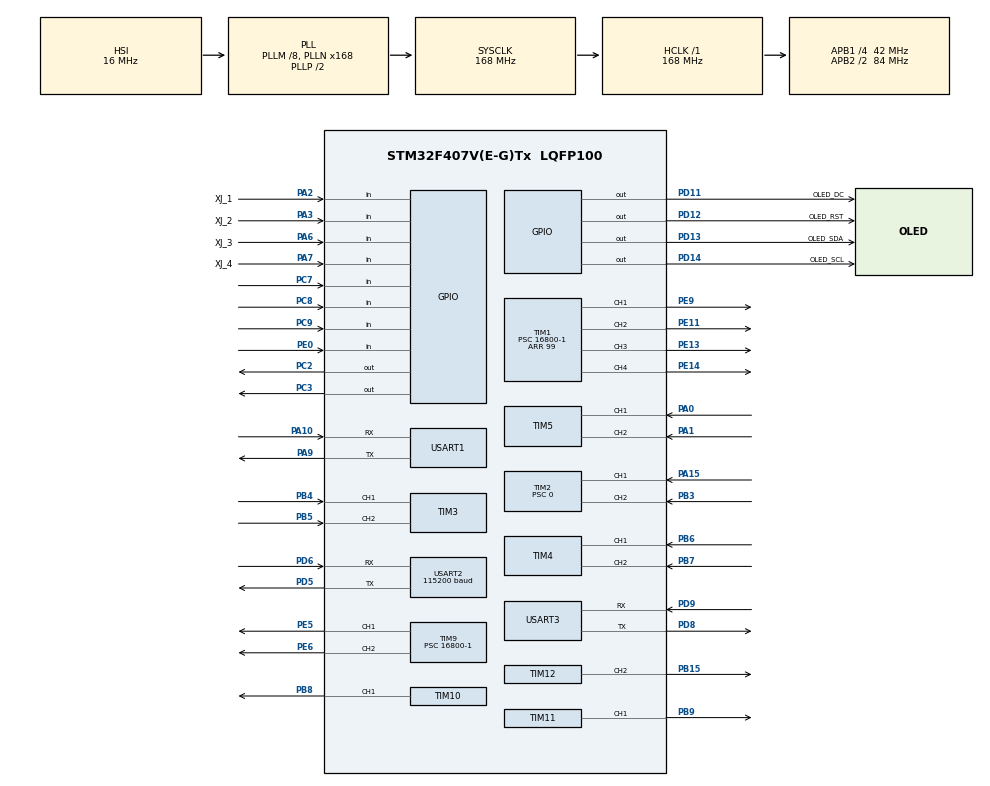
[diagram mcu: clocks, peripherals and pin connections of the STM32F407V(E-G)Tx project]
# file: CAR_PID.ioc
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Dma.Request0=USART3_RX
Dma.Request1=USART1_RX
Dma.Request2=USART2_RX
Dma.USART1_RX.1.Direction=DMA_PERIPH_TO_MEMORY
Dma.USART1_RX.1.FIFOMode=DMA_FIFOMODE_DISABLE
Dma.USART1_RX.1.Instance=DMA2_Stream2
Dma.USART1_RX.1.MemDataAlignment=DMA_MDATAALIGN_BYTE
Dma.USART1_RX.1.MemInc=DMA_MINC_ENABLE
Dma.USART1_RX.1.Mode=DMA_NORMAL
Dma.USART1_RX.1.PeriphDataAlignment=DMA_PDATAALIGN_BYTE
Dma.USART1_RX.1.PeriphInc=DMA_PINC_DISABLE
Dma.USART1_RX.1.Priority=DMA_PRIORITY_LOW
Dma.USART2_RX.2.Direction=DMA_PERIPH_TO_MEMORY
Dma.USART2_RX.2.FIFOMode=DMA_FIFOMODE_DISABLE
Dma.USART2_RX.2.Instance=DMA1_Stream5
Dma.USART2_RX.2.MemDataAlignment=DMA_MDATAALIGN_BYTE
Dma.USART2_RX.2.MemInc=DMA_MINC_ENABLE
Dma.USART2_RX.2.Mode=DMA_NORMAL
Dma.USART2_RX.2.PeriphDataAlignment=DMA_PDATAALIGN_BYTE
Dma.USART2_RX.2.PeriphInc=DMA_PINC_DISABLE
Dma.USART2_RX.2.Priority=DMA_PRIORITY_LOW
Dma.USART3_RX.0.Direction=DMA_PERIPH_TO_MEMORY
Dma.USART3_RX.0.FIFOMode=DMA_FIFOMODE_DISABLE
Dma.USART3_RX.0.Instance=DMA1_Stream1
Dma.USART3_RX.0.MemDataAlignment=DMA_MDATAALIGN_BYTE
Dma.USART3_RX.0.MemInc=DMA_MINC_ENABLE
Dma.USART3_RX.0.Mode=DMA_NORMAL
Dma.USART3_RX.0.PeriphDataAlignment=DMA_PDATAALIGN_BYTE
Dma.USART3_RX.0.PeriphInc=DMA_PINC_DISABLE
Dma.USART3_RX.0.Priority=DMA_PRIORITY_LOW
FREERTOS.INCLUDE_vTaskDelayUntil=1
FREERTOS.Tasks01=myTask01,0,128,StartDefaultTask,Default,NULL,Dynamic,NULL,NULL;myTask02,0,128,StartTask02,Default,NULL,Dynamic,NULL,NULL;myTask03,0,128,StartTask03,Default,NULL,Dynamic,NULL,NULL;myTask04,0,128,StartTask04,Default,NULL,Dynamic,NULL,NULL
Mcu.Family=STM32F4
Mcu.Name=STM32F407V(E-G)Tx
Mcu.Package=LQFP100
NVIC.DMA1_Stream1_IRQn=true\:5\:0\:false\:false\:true\:true\:false\:true\:true
NVIC.DMA1_Stream5_IRQn=true\:5\:0\:false\:false\:true\:true\:false\:true\:true
NVIC.DMA2_Stream2_IRQn=true\:5\:0\:false\:false\:true\:true\:false\:true\:true
NVIC.PriorityGroup=NVIC_PRIORITYGROUP_4
NVIC.TIM3_IRQn=true\:5\:0\:false\:false\:true\:true\:true\:true\:true
NVIC.TIM6_DAC_IRQn=true\:15\:0\:false\:false\:true\:false\:false\:true\:true
NVIC.TIM7_IRQn=true\:5\:0\:false\:false\:true\:true\:true\:true\:true
NVIC.TimeBase=TIM6_DAC_IRQn
NVIC.TimeBaseIP=TIM6
NVIC.USART1_IRQn=true\:5\:0\:false\:false\:true\:true\:true\:true\:true
NVIC.USART2_IRQn=true\:5\:0\:false\:false\:true\:true\:true\:true\:true
NVIC.USART3_IRQn=true\:5\:0\:false\:false\:true\:true\:true\:true\:true
PA0-WKUP.GPIO_Speed=GPIO_SPEED_FREQ_VERY_HIGH
PA0-WKUP.Signal=S_TIM5_CH1
PA1.GPIO_Speed=GPIO_SPEED_FREQ_VERY_HIGH
PA1.Signal=S_TIM5_CH2
PA10.Mode=Asynchronous
PA10.Signal=USART1_RX
PA13.Mode=Serial_Wire
PA13.Signal=SYS_JTMS-SWDIO
PA14.Mode=Serial_Wire
PA14.Signal=SYS_JTCK-SWCLK
PA15.GPIO_Speed=GPIO_SPEED_FREQ_VERY_HIGH
PA15.Signal=S_TIM2_CH1_ETR
PA2.GPIO_Label=XJ_1
PA2.GPIO_PuPd=GPIO_PULLUP
PA2.Signal=GPIO_Input
PA3.GPIO_Label=XJ_2
PA3.GPIO_PuPd=GPIO_PULLUP
PA3.Signal=GPIO_Input
PA6.GPIO_Label=XJ_3
PA6.GPIO_PuPd=GPIO_PULLUP
PA6.Signal=GPIO_Input
PA7.GPIO_Label=XJ_4
PA7.GPIO_PuPd=GPIO_PULLUP
PA7.Signal=GPIO_Input
PA9.Mode=Asynchronous
PA9.Signal=USART1_TX
PB15.GPIO_Speed=GPIO_SPEED_FREQ_VERY_HIGH
PB15.Signal=S_TIM12_CH2
PB3.GPIO_Speed=GPIO_SPEED_FREQ_VERY_HIGH
PB3.Signal=S_TIM2_CH2
PB4.GPIO_Speed=GPIO_SPEED_FREQ_VERY_HIGH
PB4.Signal=S_TIM3_CH1
PB5.GPIO_Speed=GPIO_SPEED_FREQ_VERY_HIGH
PB5.Signal=S_TIM3_CH2
PB6.GPIO_Speed=GPIO_SPEED_FREQ_VERY_HIGH
PB6.Signal=S_TIM4_CH1
PB7.GPIO_Speed=GPIO_SPEED_FREQ_VERY_HIGH
PB7.Signal=S_TIM4_CH2
PB8.GPIO_Speed=GPIO_SPEED_FREQ_VERY_HIGH
PB8.Signal=S_TIM10_CH1
PB9.GPIO_Speed=GPIO_SPEED_FREQ_VERY_HIGH
PB9.Signal=S_TIM11_CH1
PC2.GPIO_ModeDefaultOutputPP=GPIO_MODE_OUTPUT_OD
PC2.GPIO_PuPd=GPIO_PULLUP
PC2.GPIO_Speed=GPIO_SPEED_FREQ_VERY_HIGH
PC2.Signal=GPIO_Output
PC3.GPIO_ModeDefaultOutputPP=GPIO_MODE_OUTPUT_OD
PC3.GPIO_PuPd=GPIO_PULLUP
PC3.GPIO_Speed=GPIO_SPEED_FREQ_VERY_HIGH
PC3.Signal=GPIO_Output
PC7.GPIO_PuPd=GPIO_PULLUP
PC7.Signal=GPIO_Input
PC8.GPIO_PuPd=GPIO_PULLUP
PC8.Signal=GPIO_Input
PC9.GPIO_PuPd=GPIO_PULLUP
PC9.Signal=GPIO_Input
PD11.GPIO_Label=OLED_DC
PD11.Signal=GPIO_Output
PD12.GPIO_Label=OLED_RST
PD12.Signal=GPIO_Output
PD13.GPIO_Label=OLED_SDA
PD13.Signal=GPIO_Output
PD14.GPIO_Label=OLED_SCL
PD14.Signal=GPIO_Output
PD5.Mode=Asynchronous
PD5.Signal=USART2_TX
PD6.Mode=Asynchronous
PD6.Signal=USART2_RX
PD8.Mode=Asynchronous
PD8.Signal=USART3_TX
PD9.Mode=Asynchronous
PD9.Signal=USART3_RX
PE0.GPIO_PuPd=GPIO_NOPULL
PE0.Signal=GPIO_Input
PE11.GPIO_Speed=GPIO_SPEED_FREQ_VERY_HIGH
PE11.Signal=S_TIM1_CH2
PE13.GPIO_Speed=GPIO_SPEED_FREQ_VERY_HIGH
PE13.Signal=S_TIM1_CH3
PE14.GPIO_Speed=GPIO_SPEED_FREQ_VERY_HIGH
PE14.Signal=S_TIM1_CH4
PE5.GPIO_Speed=GPIO_SPEED_FREQ_VERY_HIGH
PE5.Signal=S_TIM9_CH1
PE6.GPIO_Speed=GPIO_SPEED_FREQ_VERY_HIGH
PE6.Signal=S_TIM9_CH2
PE9.GPIO_Speed=GPIO_SPEED_FREQ_VERY_HIGH
PE9.Signal=S_TIM1_CH1
PH0-OSC_IN.Mode=HSE-External-Oscillator
PH0-OSC_IN.Signal=RCC_OSC_IN
PH1-OSC_OUT.Mode=HSE-External-Oscillator
PH1-OSC_OUT.Signal=RCC_OSC_OUT
ProjectManager.HeapSize=0x200
ProjectManager.StackSize=0x400
ProjectManager.TargetToolchain=MDK-ARM V5.32
RCC.48MHZClocksFreq_Value=84000000
RCC.AHBFreq_Value=168000000
RCC.APB1CLKDivider=RCC_HCLK_DIV4
RCC.APB1Freq_Value=42000000
RCC.APB1TimFreq_Value=84000000
RCC.APB2CLKDivider=RCC_HCLK_DIV2
RCC.APB2Freq_Value=84000000
RCC.APB2TimFreq_Value=168000000
RCC.CortexFreq_Value=168000000
RCC.HCLKFreq_Value=168000000
RCC.HSE_VALUE=25000000
RCC.HSI_VALUE=16000000
RCC.LSE_VALUE=32768
RCC.PLLM=8
RCC.PLLN=168
RCC.SYSCLKFreq_VALUE=168000000
RCC.SYSCLKSource=RCC_SYSCLKSOURCE_PLLCLK
RCC.VCOOutputFreq_Value=336000000
SH.S_TIM10_CH1.0=TIM10_CH1,PWM Generation1 CH1
SH.S_TIM11_CH1.0=TIM11_CH1,PWM Generation1 CH1
SH.S_TIM12_CH2.0=TIM12_CH2,PWM Generation2 CH2
SH.S_TIM1_CH1.0=TIM1_CH1,PWM Generation1 CH1
SH.S_TIM1_CH2.0=TIM1_CH2,PWM Generation2 CH2
SH.S_TIM1_CH3.0=TIM1_CH3,PWM Generation3 CH3
SH.S_TIM1_CH4.0=TIM1_CH4,PWM Generation4 CH4
SH.S_TIM2_CH1_ETR.0=TIM2_CH1,Encoder_Interface
SH.S_TIM2_CH2.0=TIM2_CH2,Encoder_Interface
SH.S_TIM3_CH1.0=TIM3_CH1,Encoder_Interface
SH.S_TIM3_CH2.0=TIM3_CH2,Encoder_Interface
SH.S_TIM4_CH1.0=TIM4_CH1,Encoder_Interface
SH.S_TIM4_CH2.0=TIM4_CH2,Encoder_Interface
SH.S_TIM5_CH1.0=TIM5_CH1,Encoder_Interface
SH.S_TIM5_CH2.0=TIM5_CH2,Encoder_Interface
SH.S_TIM9_CH1.0=TIM9_CH1,PWM Generation1 CH1
SH.S_TIM9_CH2.0=TIM9_CH2,PWM Generation2 CH2
TIM1.Channel-PWM\ Generation1\ CH1=TIM_CHANNEL_1
TIM1.Channel-PWM\ Generation2\ CH2=TIM_CHANNEL_2
TIM1.Channel-PWM\ Generation3\ CH3=TIM_CHANNEL_3
TIM1.Channel-PWM\ Generation4\ CH4=TIM_CHANNEL_4
TIM1.Period=99
TIM1.Prescaler=16800-1
TIM10.Channel=TIM_CHANNEL_1
TIM10.Period=99
TIM10.Prescaler=16800-1
TIM11.Channel=TIM_CHANNEL_1
TIM11.Period=99
TIM11.Prescaler=16800-1
TIM12.Channel-PWM\ Generation2\ CH2=TIM_CHANNEL_2
TIM12.Period=20000-1
TIM12.Prescaler=84-1
TIM2.Period=4294967295
TIM2.Prescaler=0
TIM3.EncoderMode=TIM_ENCODERMODE_TI12
TIM7.AutoReloadPreload=TIM_AUTORELOAD_PRELOAD_ENABLE
TIM7.Period=999
TIM7.Prescaler=840-1
TIM9.Channel-PWM\ Generation1\ CH1=TIM_CHANNEL_1
TIM9.Channel-PWM\ Generation2\ CH2=TIM_CHANNEL_2
TIM9.Period=99
TIM9.Prescaler=16800-1
USART1.VirtualMode=VM_ASYNC
USART2.BaudRate=115200
USART2.VirtualMode=VM_ASYNC
USART3.VirtualMode=VM_ASYNC
VP_FREERTOS_VS_CMSIS_V1.Mode=CMSIS_V1
VP_SYS_VS_tim6.Mode=TIM6
VP_TIM10_VS_ClockSourceINT.Mode=Enable_Timer
VP_TIM11_VS_ClockSourceINT.Mode=Enable_Timer
VP_TIM12_VS_ClockSourceINT.Mode=Internal
VP_TIM1_VS_ClockSourceINT.Mode=Internal
VP_TIM7_VS_ClockSourceINT.Mode=Enable_Timer
VP_TIM9_VS_ClockSourceINT.Mode=Internal
board=custom

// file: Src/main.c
/* USER CODE BEGIN Header */
/**
 ******************************************************************************
 * @file           : main.c
 * @brief          : Main program body
 ******************************************************************************
 * @attention
 *
 * Copyright (c) 2024 STMicroelectronics.
 * All rights reserved.
 *
 * This software is licensed under terms that can be found in the LICENSE file
 * in the root directory of this software component.
 * If no LICENSE file comes with this software, it is provided AS-IS.
 *
 ******************************************************************************
 */
/* USER CODE END Header */
#include "main.h"
#include "cmsis_os.h"
#include "dma.h"
#include "tim.h"
#include "usart.h"
#include "gpio.h"
/* USER CODE BEGIN Includes */
#include "OLED.h"
#include "pid.h"
#include "motor.h"
#include "cJSON.h"
#include "IM948.h"
/* USER CODE END Includes */

void SystemClock_Config(void);
void MX_FREERTOS_Init(void);

/* USER CODE BEGIN 0 */
int32_t encoder_count_motor_a;
int32_t encoder_count_motor_b;
int32_t encoder_count_motor_c;
int32_t encoder_count_motor_d;

extern wheel_t LeftUp;
extern wheel_t LeftDown;
extern wheel_t RightUp;
extern wheel_t RightDown;

double ActDistance;                     // Current travel distance
extern uint8_t Need_To_Record_Distance; // Whether to record the distance

float p, i, d, a;                        // debug parameter
cJSON *cJsonData, *cJsonVlaue;           // debug
extern DMA_HandleTypeDef hdma_usart3_rx; // debug communication
uint8_t receivedata[50];

extern DMA_HandleTypeDef hdma_usart2_rx; // receive direction
extern F32 tmpZ;                         // direction
extern struct_Ram_Uart Uart;
uint8_t rx_byte;

void HAL_UARTEx_RxEventCallback(UART_HandleTypeDef *huart, uint16_t Size)
{
  if (huart == &huart2) // direction
  {
    if (FifoSize > Uart.UartFifo.Cnt)
    {
      Uart.UartFifo.RxBuf[Uart.UartFifo.In] = rx_byte;
      if (++Uart.UartFifo.In >= FifoSize)
      {
        Uart.UartFifo.In = 0;
      }
      ++Uart.UartFifo.Cnt;
    }
    HAL_UARTEx_ReceiveToIdle_DMA(&huart2, &rx_byte, 1);
    __HAL_DMA_DISABLE_IT(&hdma_usart2_rx, DMA_IT_HT);
  }
  if (huart == &huart3) // debug
  {
    cJsonData = cJSON_Parse((const char *)receivedata);
    if (cJSON_GetObjectItem(cJsonData, "p") != NULL)
    {
      cJsonVlaue = cJSON_GetObjectItem(cJsonData, "p");
      p = cJsonVlaue->valuedouble;
//      LeftDown.pid_struct.p = LeftUp.pid_struct.p = RightDown.pid_struct.p = RightUp.pid_struct.p = p;
      LeftDown.pid_struct.p=p;
//      LeftUp.pid_struct.p=p;
//        RightDown.pid_struct.p=p;
    }
    if (cJSON_GetObjectItem(cJsonData, "i") != NULL)
    {
      cJsonVlaue = cJSON_GetObjectItem(cJsonData, "i");
      i = cJsonVlaue->valuedouble;
//      LeftDown.pid_struct.i = LeftUp.pid_struct.i = RightDown.pid_struct.i = RightUp.pid_struct.i = i;
      LeftDown.pid_struct.i=i;
//      LeftUp.pid_struct.i=i;
//        RightUp.pid_struct.i=i;
//        RightDown.pid_struct.i=i;
    }
    if (cJSON_GetObjectItem(cJsonData, "d") != NULL)
    {
      cJsonVlaue = cJSON_GetObjectItem(cJsonData, "d");
      d = cJsonVlaue->valuedouble;
//      LeftDown.pid_struct.d = LeftUp.pid_struct.d = RightDown.pid_struct.d = RightUp.pid_struct.d = d;
      LeftDown.pid_struct.d=d;
//      LeftUp.pid_struct.d=d;
//        RightDown.pid_struct.d=d;
    }
    if (cJSON_GetObjectItem(cJsonData, "a") != NULL)
    {
      cJsonVlaue = cJSON_GetObjectItem(cJsonData, "a");
      a = cJsonVlaue->valuedouble;
//      LeftDown.pid_struct.tar = RightDown.pid_struct.tar = LeftUp.pid_struct.tar = RightUp.pid_struct.tar = a;
      LeftDown.pid_struct.tar=a;
//      LeftUp.pid_struct.tar=a;
//        RightDown.pid_struct.tar=a;
    }
    if (cJsonData != NULL)
    {
      cJSON_Delete(cJsonData);
    }
    HAL_UARTEx_ReceiveToIdle_DMA(&huart3, receivedata, 50);
    __HAL_DMA_DISABLE_IT(&hdma_usart3_rx, DMA_IT_HT);
  }
}
/* USER CODE END 0 */

int main(void)
{

  /* MCU Configuration--------------------------------------------------------*/

  /* Reset of all peripherals, Initializes the Flash interface and the Systick. */
  HAL_Init();

  /* Configure the system clock */
  SystemClock_Config();

  /* Initialize all configured peripherals */
  MX_GPIO_Init();
  MX_DMA_Init();
  MX_TIM1_Init();
  MX_TIM3_Init();
  MX_TIM4_Init();
  MX_TIM9_Init();
  MX_TIM12_Init();
  MX_USART2_UART_Init();
  MX_TIM2_Init();
  MX_TIM5_Init();
  MX_TIM10_Init();
  MX_TIM11_Init();
  MX_TIM7_Init();
  MX_USART3_UART_Init();
  MX_USART1_UART_Init();
  /* USER CODE BEGIN 2 */
  HAL_TIM_PWM_Start(&htim10, TIM_CHANNEL_1);            // motor_pwm
  HAL_TIM_PWM_Start(&htim11, TIM_CHANNEL_1);            //
  HAL_TIM_PWM_Start(&MOTOR_B_TIMER, MOTOR_B_CHANNEL_1); // tim9
  HAL_TIM_PWM_Start(&MOTOR_B_TIMER, MOTOR_B_CHANNEL_2); //
  HAL_TIM_PWM_Start(&MOTOR_C_TIMER, MOTOR_C_CHANNEL_1); // tim1
  HAL_TIM_PWM_Start(&MOTOR_C_TIMER, MOTOR_C_CHANNEL_2); //
  HAL_TIM_PWM_Start(&htim1, TIM_CHANNEL_3);             // tim1
  HAL_TIM_PWM_Start(&htim1, TIM_CHANNEL_4);

  HAL_TIM_PWM_Start(&SENSOR, TIM_CHANNEL_2); // Servo engine

  HAL_TIM_Encoder_Start(&htim2, TIM_CHANNEL_ALL); // speed
  HAL_TIM_Encoder_Start(&htim3, TIM_CHANNEL_ALL);
  HAL_TIM_Encoder_Start(&htim4, TIM_CHANNEL_ALL);
  HAL_TIM_Encoder_Start(&htim5, TIM_CHANNEL_ALL);

  OLED_Init(); // OLED
  OLED_Clear();
  OLED_Display_On();

  HAL_TIM_Base_Start_IT(&htim7); // TIM_PeriodElapsedCallback,get speed,set speed

  HAL_UARTEx_ReceiveToIdle_DMA(&huart3, receivedata, 50); // debug
  __HAL_DMA_DISABLE_IT(&hdma_usart3_rx, DMA_IT_HT);

  HAL_UARTEx_ReceiveToIdle_DMA(&huart2, &rx_byte, 200);
  __HAL_DMA_DISABLE_IT(&hdma_usart2_rx, DMA_IT_HT); // direction

  Wheels_Init(); // Wheels
  MIX_PID_Init();

  Cmd_03(); // direction
  Cmd_06(); // init yaw
  Cmd_12(5, 255, 0, 1, 3, 2, 2, 4, 9, 0x40);
  Cmd_19();

  /* USER CODE END 2 */

  /* Call init function for freertos objects (in cmsis_os2.c) */
  MX_FREERTOS_Init();

  /* Start scheduler */
  osKernelStart();

  /* We should never get here as control is now taken by the scheduler */

  /* Infinite loop */
  while (1)
  {

  }
}

void SystemClock_Config(void)
{
  RCC_OscInitTypeDef RCC_OscInitStruct = {0};
  RCC_ClkInitTypeDef RCC_ClkInitStruct = {0};

  /** Configure the main internal regulator output voltage
   */
  __HAL_RCC_PWR_CLK_ENABLE();
  __HAL_PWR_VOLTAGESCALING_CONFIG(PWR_REGULATOR_VOLTAGE_SCALE1);

  /** Initializes the RCC Oscillators according to the specified parameters
   * in the RCC_OscInitTypeDef structure.
   */
  RCC_OscInitStruct.OscillatorType = RCC_OSCILLATORTYPE_HSI;
  RCC_OscInitStruct.HSIState = RCC_HSI_ON;
  RCC_OscInitStruct.HSICalibrationValue = RCC_HSICALIBRATION_DEFAULT;
  RCC_OscInitStruct.PLL.PLLState = RCC_PLL_ON;
  RCC_OscInitStruct.PLL.PLLSource = RCC_PLLSOURCE_HSI;
  RCC_OscInitStruct.PLL.PLLM = 8;
  RCC_OscInitStruct.PLL.PLLN = 168;
  RCC_OscInitStruct.PLL.PLLP = RCC_PLLP_DIV2;
  RCC_OscInitStruct.PLL.PLLQ = 4;
  if (HAL_RCC_OscConfig(&RCC_OscInitStruct) != HAL_OK)
  {
    Error_Handler();
  }

  /** Initializes the CPU, AHB and APB buses clocks
   */
  RCC_ClkInitStruct.ClockType = RCC_CLOCKTYPE_HCLK | RCC_CLOCKTYPE_SYSCLK | RCC_CLOCKTYPE_PCLK1 | RCC_CLOCKTYPE_PCLK2;
  RCC_ClkInitStruct.SYSCLKSource = RCC_SYSCLKSOURCE_PLLCLK;
  RCC_ClkInitStruct.AHBCLKDivider = RCC_SYSCLK_DIV1;
  RCC_ClkInitStruct.APB1CLKDivider = RCC_HCLK_DIV4;
  RCC_ClkInitStruct.APB2CLKDivider = RCC_HCLK_DIV2;

  if (HAL_RCC_ClockConfig(&RCC_ClkInitStruct, FLASH_LATENCY_5) != HAL_OK)
  {
    Error_Handler();
  }
}

/* USER CODE BEGIN 4 */
void HAL_TIM_PeriodElapsedCallback(TIM_HandleTypeDef *htim)
{
  if (htim->Instance == TIM6) // freeRtos Time
  {
    HAL_IncTick();
  }
  if (htim->Instance == TIM7) //  0.01s , get speed
  {
    encoder_count_motor_a = (short)__HAL_TIM_GET_COUNTER(&htim2);
    encoder_count_motor_b = (short)__HAL_TIM_GET_COUNTER(&htim3);
    encoder_count_motor_c = (short)__HAL_TIM_GET_COUNTER(&htim4);
    encoder_count_motor_d = (short)__HAL_TIM_GET_COUNTER(&htim5);

    __HAL_TIM_SET_COUNTER(&htim2, 0);
    __HAL_TIM_SET_COUNTER(&htim3, 0);
    __HAL_TIM_SET_COUNTER(&htim4, 0);
    __HAL_TIM_SET_COUNTER(&htim5, 0);
    LeftUp.speed = encoder_count_motor_c / 740.0f * 100;
    LeftDown.speed = encoder_count_motor_d / 740.0f * 100;
    RightDown.speed = -encoder_count_motor_a / 740.0f * 100;
    RightUp.speed = -encoder_count_motor_b / 1480.0f * 100;

    if (Need_To_Record_Distance)
      ActDistance += 0.01f * LeftUp.speed * 20.8f;
  }
}

/* USER CODE END 4 */

void Error_Handler(void)
{
  __disable_irq();
  while (1)
  {
  }
}

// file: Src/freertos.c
/* USER CODE BEGIN Header */
/**
 ******************************************************************************
 * File Name          : freertos.c
 * Description        : Code for freertos applications
 ******************************************************************************
 * @attention
 *
 * Copyright (c) 2024 STMicroelectronics.
 * All rights reserved.
 *
 * This software is licensed under terms that can be found in the LICENSE file
 * in the root directory of this software component.
 * If no LICENSE file comes with this software, it is provided AS-IS.
 *
 ******************************************************************************
 */
/* USER CODE END Header */

#include "FreeRTOS.h"
#include "task.h"
#include "main.h"
#include "cmsis_os.h"

/* USER CODE BEGIN Includes */
#include "main.h"
#include "motor.h"
#include "OLED.h"
#include "pid.h"
#include "IM948.h"
/* USER CODE END Includes */

/* USER CODE BEGIN PTD */
extern wheel_t LeftUp;
extern wheel_t LeftDown;
extern wheel_t RightUp;
extern wheel_t RightDown;
/* USER CODE END PTD */

/* USER CODE BEGIN Variables */

extern struct_Ram_Uart Uart; // receive direction
extern F32 tmpZ;             // direction
uint8_t ActionFlag; // Planning action

/* USER CODE END Variables */
osThreadId myTask01Handle;
osThreadId myTask02Handle;
osThreadId myTask03Handle;
osThreadId myTask04Handle;

void StartDefaultTask(void const *argument);
void StartTask02(void const *argument);
void StartTask03(void const *argument);
void StartTask04(void const *argument);

void MX_FREERTOS_Init(void); /* (MISRA C 2004 rule 8.1) */

/* GetIdleTaskMemory prototype (linked to static allocation support) */
void vApplicationGetIdleTaskMemory(StaticTask_t **ppxIdleTaskTCBBuffer, StackType_t **ppxIdleTaskStackBuffer, uint32_t *pulIdleTaskStackSize);

/* USER CODE BEGIN GET_IDLE_TASK_MEMORY */
static StaticTask_t xIdleTaskTCBBuffer;
static StackType_t xIdleStack[configMINIMAL_STACK_SIZE];

void vApplicationGetIdleTaskMemory(StaticTask_t **ppxIdleTaskTCBBuffer, StackType_t **ppxIdleTaskStackBuffer, uint32_t *pulIdleTaskStackSize)
{
  *ppxIdleTaskTCBBuffer = &xIdleTaskTCBBuffer;
  *ppxIdleTaskStackBuffer = &xIdleStack[0];
  *pulIdleTaskStackSize = configMINIMAL_STACK_SIZE;
  /* place for user code */
}
/* USER CODE END GET_IDLE_TASK_MEMORY */

void MX_FREERTOS_Init(void)
{

  /* Create the thread(s) */
  /* definition and creation of myTask01 */
  osThreadDef(myTask01, StartDefaultTask, osPriorityNormal, 0, 128);
  myTask01Handle = osThreadCreate(osThread(myTask01), NULL);

  /* definition and creation of myTask02 */
  osThreadDef(myTask02, StartTask02, osPriorityNormal, 0, 128);
  myTask02Handle = osThreadCreate(osThread(myTask02), NULL);

  /* definition and creation of myTask03 */
  osThreadDef(myTask03, StartTask03, osPriorityNormal, 0, 128);
  myTask03Handle = osThreadCreate(osThread(myTask03), NULL);

  /* definition and creation of myTask04 */
  osThreadDef(myTask04, StartTask04, osPriorityNormal, 0, 128);
  myTask04Handle = osThreadCreate(osThread(myTask04), NULL);

}

void StartDefaultTask(void const *argument)
{
  /* USER CODE BEGIN StartDefaultTask */
  /* Infinite loop */
  for (;;)
  {
    U8 rxByte; // receive direction
    int i;
    for (i = 0; i < 1000; i++)
    {
      if (Uart.UartFifo.Cnt > 0)
      {
        rxByte = Uart.UartFifo.RxBuf[Uart.UartFifo.Out];
        if (++Uart.UartFifo.Out >= FifoSize)
        {
          Uart.UartFifo.Out = 0;
        }
        __disable_irq();
        --Uart.UartFifo.Cnt;
        __enable_irq();
        Cmd_GetPkt(rxByte);
      }
    }
    OLED_ShowFloat(tmpZ, 3, 1, 1);
    OLED_Refresh_Gram();
    osDelay(1);
  }
  /* USER CODE END StartDefaultTask */
}

void StartTask02(void const *argument)
{
  /* USER CODE BEGIN StartTask02 */

  /* Infinite loop */
  for (;;) // pid Speed maintenance
  {

     SetCCR_By_TargetSpeed("Pos");
//     printf("%.2f,%.2f,%.2f,%.2f,%.2f\r\n", LeftDown.pid_struct.tar, LeftDown.speed, LeftUp.speed, RightDown.speed, RightUp.speed);
      printf("%.2f,%.2f\r\n", LeftDown.pid_struct.tar,LeftDown.speed);
    osDelay(9);
  }
  /* USER CODE END StartTask02 */
}

void StartTask03(void const *argument)
{
  /* USER CODE BEGIN StartTask03 */
  /* Infinite loop */
  for (;;)
  {
    //    if (ActionFlag == 0)
    //    {
    //      KeyJumpTo(0, 1, osDelay); // 检测按键，触发跳转到1
    //    }

    //    else if (ActionFlag == 1)
    //    {
    //      MoveByDistance(28, -1.0, 2);
    //    }

    //    else if (ActionFlag == 2)
    //    {
    //      rotate(90, 3);
    //    }

    //    else if (ActionFlag == 3)
    //    {
    //      Move_By_Distance_And_Angle(45, 90, -0.35, 0);
    //    }
    osDelay(15);
  }

  /* USER CODE END StartTask03 */
}

void StartTask04(void const *argument)
{
  for (;;)
  {
    osDelay(1);
  }
}
